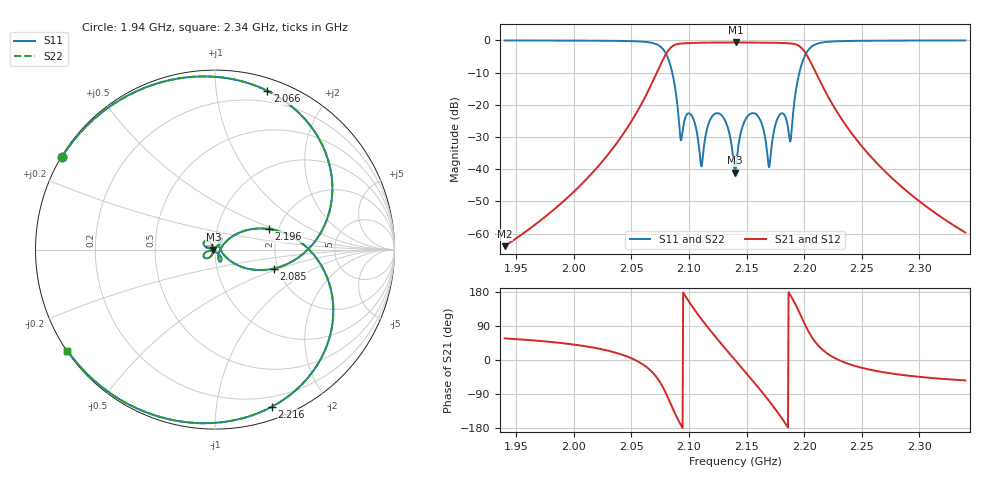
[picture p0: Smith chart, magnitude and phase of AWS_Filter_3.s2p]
!Port 1 is shunt  connected
!Port 2 is shunt  connected
!prototype= pole placed tchebycheff
!n=  5,  np= 0,  rl=  22.000dB
!transform= band pass
!f0= 2140.000MHz,  bw=  100.000MHz, q0= 900.000
!fstart= 1940.000MHz, fstep=  0.500MHz, fstop= 2340.000MHz
# MHZ S MA R 50
!Freq  Mag(S11)  Arg(S11)  Mag(S21)  Arg(S21)  Mag(S12)  Arg(S12)  Mag(S22)  Arg(S22)
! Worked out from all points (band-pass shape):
!   801 points, 1.94 GHz to 2.34 GHz, reference 50 ohm
!   highest |S21| = -0.64 dB at 2.14 GHz (marker M1); lowest = -63.9 dB at 1.94 GHz (marker M2)
!   |S21| within 3 dB of the highest: 2.081 GHz to 2.201 GHz (119.5 MHz wide, 5.58 % of centre)
!   lowest |S11| = -41.1 dB at 2.14 GHz (marker M3), VSWR 1.02, Z = 49.1 - j0.000227 ohm
!   |S11| at or under -10 dB: 2.085 GHz to 2.196 GHz (110.4 MHz wide, 5.16 % of centre)
!   |S22| runs from -41.1 to 0.0 dB; largest |S21 - S12| = 0
!   S11 on the Smith chart (normalised r, x): 1.94 GHz: 0.00, +0.28; 2.066 GHz: 0.10, +1.38; 2.085 GHz: 1.91, -0.46; 2.196 GHz: 1.79, +0.46; 2.216 GHz: 0.11, -1.42; 2.34 GHz: 0.00, -0.31
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1940  0.9964 148.8  0.000638 57.0  0.000638 57.0  0.9964 148.8
2007  0.991 130.6  0.005902 37.8  0.005902 37.8  0.991 130.6
2065.5  0.9316 71.8  0.1761 -24.4  0.1761 -24.4  0.9316 71.8
2073.5  0.8411 45.6  0.3568 -52.1  0.3568 -52.1  0.8411 45.6
2085  0.345 -17.8  0.7921 -121.7  0.7921 -121.7  0.345 -17.8
2093  0.02801 16.7  0.8929 -171.4  0.8929 -171.4  0.02801 16.7
2101.5  0.07126 60.3  0.9091 147.3  0.9091 147.3  0.07126 60.3
2112.5  0.01862 157.3  0.9208 101.3  0.9208 101.3  0.01862 157.3
2118  0.05619 163.3  0.9226 79.9  0.9226 79.9  0.05619 163.3
2126  0.07344 141.3  0.9244 50.3  0.9244 50.3  0.07344 141.3
2140  0.008817 -180.0  0.9286 -0.0  0.9286 -0.0  0.008817 -180.0
2140.5  0.009561 -158.8  0.9286 -1.8  0.9286 -1.8  0.009561 -158.8
2154.5  0.07388 -142.5  0.9252 -51.7  0.9252 -51.7  0.07388 -142.5
2162.5  0.05479 -164.0  0.924 -81.0  0.924 -81.0  0.05479 -164.0
2168  0.01752 -156.1  0.9227 -101.8  0.9227 -101.8  0.01752 -156.1
2179.5  0.0722 -60.9  0.9117 -148.6  0.9117 -148.6  0.0722 -60.9
2188  0.02684 -18.8  0.8975 171.7  0.8975 171.7  0.02684 -18.8
2196  0.3222 20.8  0.809 124.6  0.809 124.6  0.3222 20.8
2207  0.8111 -38.7  0.4114 58.9  0.4114 58.9  0.8111 -38.7
2216.5  0.9311 -70.1  0.1867 25.7  0.1867 25.7  0.9311 -70.1
2273.5  0.9909 -127.2  0.008097 -34.5  0.008097 -34.5  0.9909 -127.2
2340  0.9964 -145.6  0.001036 -53.9  0.001036 -53.9  0.9964 -145.6
